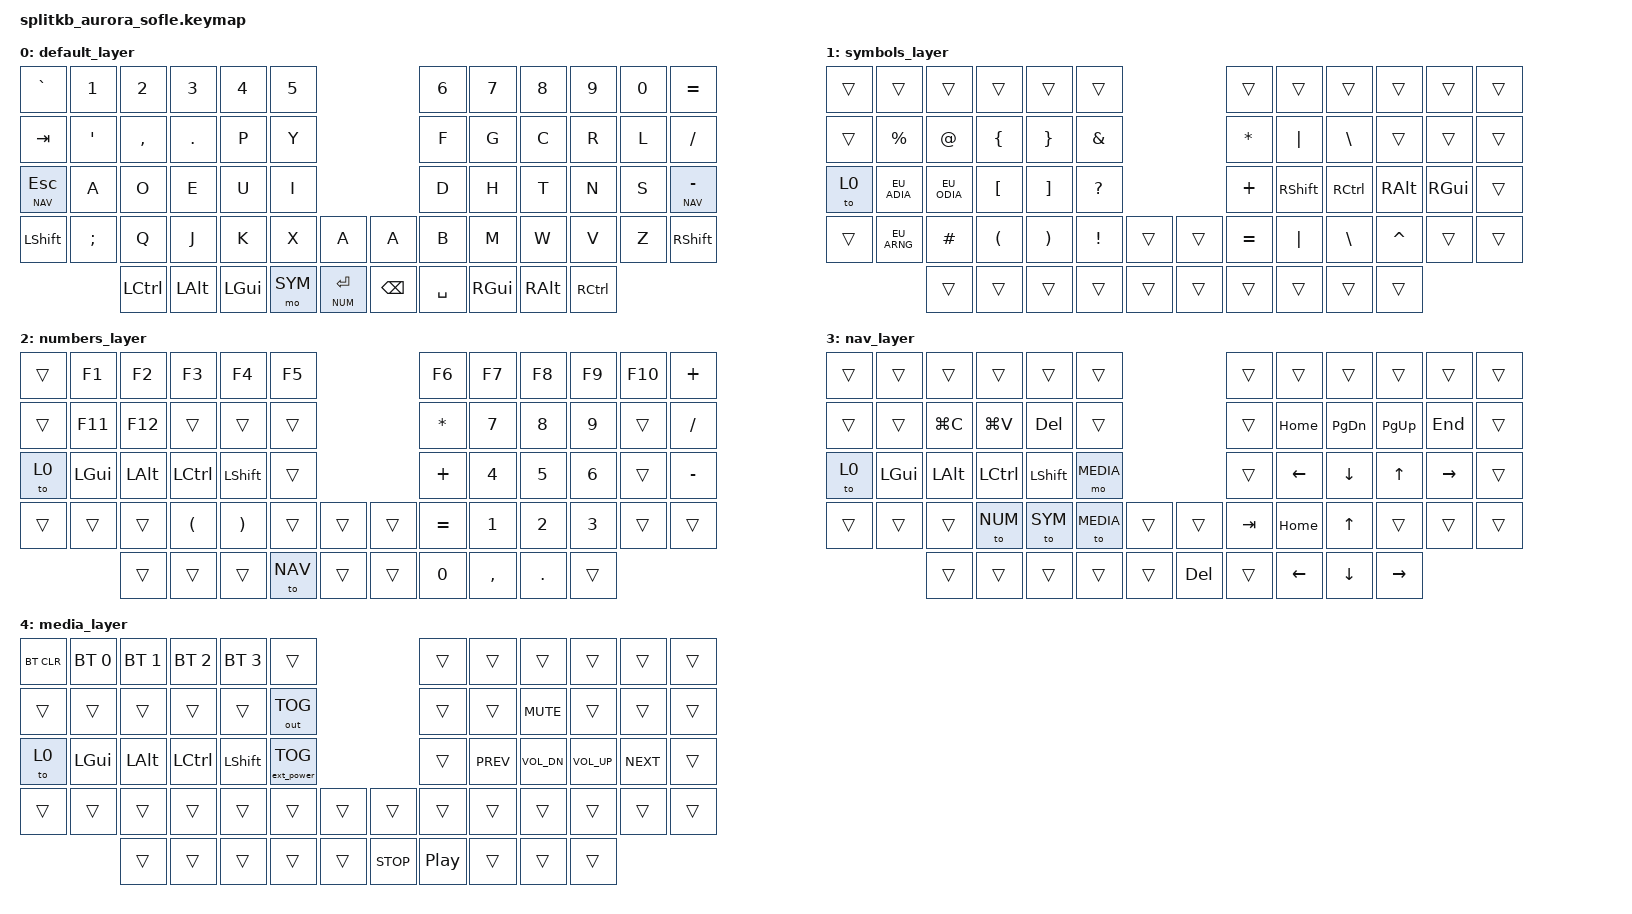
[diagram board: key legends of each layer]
/*
 * Copyright (c) 2020 The ZMK Contributors
 *
 * SPDX-License-Identifier: MIT
 */

#include <behaviors.dtsi>
#include <dt-bindings/zmk/keys.h>
#include <dt-bindings/zmk/bt.h>
#include <dt-bindings/zmk/outputs.h>
#include <dt-bindings/zmk/ext_power.h>

#include "eurkey.h"

#define SYM 1
#define NUM 2
#define NAV 3
#define MEDIA 4

&sk {
    release-after-ms = <1000>;
    quick-release;
};

&lt {
    flavor = "tap-preferred";
    tapping-term-ms = <150>;
};

/ {
    behaviors {
        hml: homerow_mods_left {
            compatible = "zmk,behavior-hold-tap";
            #binding-cells = <2>;
            tapping-term-ms = <180>;
            quick-tap-ms = <0>;
            flavor = "tap-preferred";
            bindings = <&kp>, <&kp>;
            hold-trigger-key-positions = <6 7 8 9 10 11 18 19 20 21 22 23 30 31 32 33 34 35 44 45 46 47 48 49 55 56 57 58 59>;
            hold-trigger-on-release;
        };

        hmr: homerow_mods_right {
            compatible = "zmk,behavior-hold-tap";
            #binding-cells = <2>;
            tapping-term-ms = <180>;
            quick-tap-ms = <0>;
            flavor = "tap-preferred";
            bindings = <&kp>, <&kp>;
            hold-trigger-key-positions = <0 1 2 3 4 5 12 13 14 15 16 17 24 25 26 27 28 29 36 37 38 39 40 41 50 51 52 53 54>;
            hold-trigger-on-release;
        };
    };

    keymap {
        compatible = "zmk,keymap";

        default_layer {
            bindings = <
&kp GRAVE       &kp N1              &kp N2          &kp N3          &kp N4          &kp N5                  &kp N6  &kp N7          &kp N8          &kp N9      &kp N0      &kp EQUAL
&kp TAB         &kp SINGLE_QUOTE    &kp COMMA       &kp DOT         &kp P           &kp Y                   &kp F   &kp G           &kp C           &kp R       &kp L       &kp SLASH
&lt NAV ESC     &kp A               &kp O           &kp E           &kp U           &kp I                   &kp D   &kp H           &kp T           &kp N       &kp S       &lt NAV MINUS
&kp LSHIFT      &kp SEMICOLON       &kp Q           &kp J           &kp K           &kp X   &kp A   &kp A   &kp B   &kp M           &kp W           &kp V       &kp Z       &kp RSHIFT

                              &kp LCTRL &kp LALT &kp LGUI &mo SYM &lt NUM RET       &kp BSPC &kp SPACE &kp RGUI &kp RALT &kp RCTRL
            >;
        };

        symbols_layer {
            bindings = <
&trans      &trans          &trans          &trans      &trans      &trans                      &trans      &trans      &trans          &trans      &trans      &trans
&trans      &kp PERCENT     &kp AT          &kp LBRC    &kp RBRC    &kp AMPS                    &kp ASTRK   &kp PIPE    &kp BACKSLASH   &trans      &trans      &trans
&to 0       &kp EU_ADIA     &kp EU_ODIA     &kp LBKT    &kp RBKT    &kp QMARK                   &kp PLUS    &kp RSHIFT  &kp RCTRL       &kp RALT    &kp RGUI    &trans
&trans      &kp EU_ARNG     &kp HASH        &kp LPAR    &kp RPAR    &kp EXCL    &trans  &trans  &kp EQUAL   &kp PIPE    &kp BACKSLASH   &kp CARET   &trans      &trans

                                        &trans &trans &trans &trans &trans       &trans &trans &trans &trans  &trans
            >;
        };

        numbers_layer {
            bindings = <
&trans      &kp F1          &kp F2          &kp F3      &kp F4          &kp F5                      &kp F6      &kp F7  &kp F8  &kp F9  &kp F10     &kp PLUS
&trans      &kp F11         &kp F12         &trans      &trans          &trans                      &kp ASTRK   &kp N7  &kp N8  &kp N9  &trans      &kp SLASH
&to 0       &kp LGUI        &kp LALT        &kp LCTRL   &kp LSHIFT      &trans                      &kp PLUS    &kp N4  &kp N5  &kp N6  &trans      &kp MINUS
&trans      &trans          &trans          &kp LPAR    &kp RPAR        &trans      &trans  &trans  &kp EQUAL   &kp N1  &kp N2  &kp N3  &trans      &trans

                                        &trans &trans &trans &to NAV &trans         &trans &kp N0 &kp COMMA &kp DOT  &trans
            >;
        };

        nav_layer {
            bindings = <
&trans  &trans      &trans          &trans          &trans      &trans                      &trans  &trans      &trans      &trans      &trans      &trans
&trans  &trans      &kp LG(C)       &kp LG(V)       &kp DEL     &trans                      &trans  &kp HOME    &kp PG_DN   &kp PG_UP   &kp END     &trans
&to 0   &kp LGUI    &kp LALT        &kp LCTRL       &kp LSHIFT  &mo MEDIA                   &trans  &kp LEFT    &kp DOWN    &kp UP      &kp RIGHT   &trans
&trans  &trans      &trans          &to NUM         &to SYM     &to MEDIA  &trans   &trans  &kp TAB &kp HOME    &kp UP      &trans      &trans      &trans

                                       &trans &trans &trans &trans &trans       &kp DEL &trans &kp LEFT &kp DOWN &kp RIGHT
            >;
        };

        media_layer {
            bindings = <
&bt BT_CLR  &bt BT_SEL 0    &bt BT_SEL 1    &bt BT_SEL 2    &bt BT_SEL 3    &trans                          &trans  &trans      &trans          &trans          &trans      &trans
&trans      &trans          &trans          &trans          &trans          &out OUT_TOG                    &trans  &trans      &kp C_MUTE      &trans          &trans      &trans
&to 0       &kp LGUI        &kp LALT        &kp LCTRL       &kp LSHIFT      &ext_power EP_TOG               &trans  &kp C_PREV  &kp C_VOL_DN    &kp C_VOL_UP    &kp C_NEXT  &trans
&trans      &trans          &trans          &trans          &trans          &trans          &trans  &trans  &trans  &trans      &trans          &trans          &trans      &trans

                                                              &trans &trans &trans &trans &trans    &kp C_STOP &kp C_PLAY_PAUSE &trans &trans &trans
            >;
        };
    };
};
